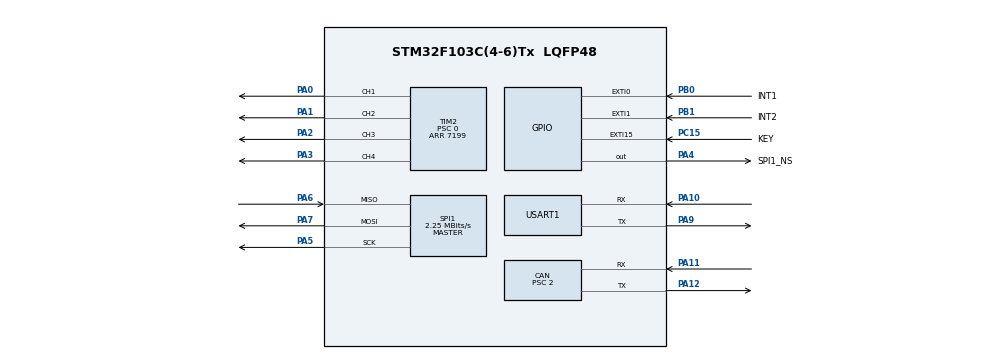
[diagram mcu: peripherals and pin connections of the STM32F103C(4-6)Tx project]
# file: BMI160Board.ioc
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CAN.BS1=CAN_BS1_9TQ
CAN.BS2=CAN_BS2_8TQ
CAN.CalculateBaudRate=1000000
CAN.CalculateTimeBit=1000
CAN.CalculateTimeQuantum=55.55555555555556
CAN.Prescaler=2
Mcu.Family=STM32F1
Mcu.Name=STM32F103C(4-6)Tx
Mcu.Package=LQFP48
NVIC.CAN1_RX1_IRQn=true\:0\:0\:false\:false\:true\:true\:true\:true
NVIC.EXTI0_IRQn=true\:1\:0\:true\:false\:true\:true\:true\:true
NVIC.EXTI15_10_IRQn=true\:0\:0\:false\:false\:true\:true\:true\:true
NVIC.EXTI1_IRQn=true\:1\:0\:true\:false\:true\:true\:true\:true
NVIC.PriorityGroup=NVIC_PRIORITYGROUP_4
NVIC.TIM1_UP_IRQn=true\:0\:0\:false\:false\:true\:true\:true\:true
NVIC.USB_HP_CAN1_TX_IRQn=true\:0\:0\:false\:false\:true\:true\:true\:true
NVIC.USB_LP_CAN1_RX0_IRQn=true\:0\:0\:false\:false\:true\:true\:true\:true
PA0-WKUP.Signal=S_TIM2_CH1_ETR
PA1.Signal=S_TIM2_CH2
PA10.Mode=Asynchronous
PA10.Signal=USART1_RX
PA11.Mode=CAN_Activate
PA11.Signal=CAN_RX
PA12.Mode=CAN_Activate
PA12.Signal=CAN_TX
PA13.Mode=Serial_Wire
PA13.Signal=SYS_JTMS-SWDIO
PA14.Mode=Serial_Wire
PA14.Signal=SYS_JTCK-SWCLK
PA2.Signal=S_TIM2_CH3
PA3.Signal=S_TIM2_CH4
PA4.GPIO_Label=SPI1_NS
PA4.GPIO_Speed=GPIO_SPEED_FREQ_HIGH
PA4.Signal=GPIO_Output
PA5.Mode=Full_Duplex_Master
PA5.Signal=SPI1_SCK
PA6.Mode=Full_Duplex_Master
PA6.Signal=SPI1_MISO
PA7.Mode=Full_Duplex_Master
PA7.Signal=SPI1_MOSI
PA9.Mode=Asynchronous
PA9.Signal=USART1_TX
PB0.GPIO_Label=INT1
PB0.GPIO_ModeDefaultEXTI=GPIO_MODE_IT_FALLING
PB0.GPIO_PuPd=GPIO_NOPULL
PB0.Signal=GPXTI0
PB1.GPIO_Label=INT2
PB1.GPIO_ModeDefaultEXTI=GPIO_MODE_IT_FALLING
PB1.GPIO_PuPd=GPIO_NOPULL
PB1.Signal=GPXTI1
PC15-OSC32_OUT.GPIO_Label=KEY
PC15-OSC32_OUT.GPIO_ModeDefaultEXTI=GPIO_MODE_IT_RISING_FALLING
PC15-OSC32_OUT.GPIO_PuPd=GPIO_PULLUP
PC15-OSC32_OUT.Signal=GPXTI15
PD0-OSC_IN.Mode=HSE-External-Oscillator
PD0-OSC_IN.Signal=RCC_OSC_IN
PD1-OSC_OUT.Mode=HSE-External-Oscillator
PD1-OSC_OUT.Signal=RCC_OSC_OUT
ProjectManager.HeapSize=0x200
ProjectManager.StackSize=0x400
ProjectManager.TargetToolchain=MDK-ARM V5.32
RCC.AHBFreq_Value=72000000
RCC.APB1CLKDivider=RCC_HCLK_DIV2
RCC.APB1Freq_Value=36000000
RCC.APB1TimFreq_Value=72000000
RCC.APB2Freq_Value=72000000
RCC.APB2TimFreq_Value=72000000
RCC.HCLKFreq_Value=72000000
RCC.PLLMUL=RCC_PLL_MUL9
RCC.PLLSourceVirtual=RCC_PLLSOURCE_HSE
RCC.SYSCLKFreq_VALUE=72000000
RCC.SYSCLKSource=RCC_SYSCLKSOURCE_PLLCLK
RCC.USBFreq_Value=72000000
SH.S_TIM2_CH1_ETR.0=TIM2_CH1,PWM Generation1 CH1
SH.S_TIM2_CH2.0=TIM2_CH2,PWM Generation2 CH2
SH.S_TIM2_CH3.0=TIM2_CH3,PWM Generation3 CH3
SH.S_TIM2_CH4.0=TIM2_CH4,PWM Generation4 CH4
SPI1.BaudRatePrescaler=SPI_BAUDRATEPRESCALER_32
SPI1.CalculateBaudRate=2.25 MBits/s
SPI1.Direction=SPI_DIRECTION_2LINES
SPI1.Mode=SPI_MODE_MASTER
SPI1.VirtualType=VM_MASTER
TIM1.Period=999
TIM1.Prescaler=71
TIM2.Channel-PWM\ Generation1\ CH1=TIM_CHANNEL_1
TIM2.Channel-PWM\ Generation2\ CH2=TIM_CHANNEL_2
TIM2.Channel-PWM\ Generation3\ CH3=TIM_CHANNEL_3
TIM2.Channel-PWM\ Generation4\ CH4=TIM_CHANNEL_4
TIM2.OCMode_PWM-PWM\ Generation1\ CH1=TIM_OCMODE_PWM1
TIM2.OCMode_PWM-PWM\ Generation2\ CH2=TIM_OCMODE_PWM1
TIM2.OCMode_PWM-PWM\ Generation3\ CH3=TIM_OCMODE_PWM1
TIM2.Period=7199
TIM2.Prescaler=0
USART1.VirtualMode=VM_ASYNC
VP_TIM1_VS_ClockSourceINT.Mode=Internal
VP_TIM2_VS_ClockSourceINT.Mode=Internal
board=custom

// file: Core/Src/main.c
/* USER CODE BEGIN Header */
/**
  ******************************************************************************
  * @file           : main.c
  * @brief          : Main program body
  ******************************************************************************
  * @attention
  *
  * Copyright (c) 2022 STMicroelectronics.
  * All rights reserved.
  *
  * This software is licensed under terms that can be found in the LICENSE file
  * in the root directory of this software component.
  * If no LICENSE file comes with this software, it is provided AS-IS.
  *
  ******************************************************************************
  */
/* USER CODE END Header */
#include "main.h"
#include "can.h"
#include "spi.h"
#include "tim.h"
#include "usart.h"
#include "gpio.h"

/* USER CODE BEGIN Includes */
#include "BMI160_LL.h"
#include "Control.h"
#include "QCS_Lite.h"
#include "Data_Exchange.h"
#include "Flash_M3_HAL.h"
#include "CA_Lite_M3.h"
#include "CAN_M3_HAL.h"
/* USER CODE END Includes */

void SystemClock_Config(void);

/* USER CODE BEGIN 0 */
//	uint16_t SixTemp1[1] = {1};
//	uint16_t SixTemp2[1] = {0};
//	uint8_t INIT=0;
//	float TT = 0;
//	uint8_t BB=0;
	float YAW=0;
	uint16_t CAN_TX_FPS=0;
	uint16_t CAN_TX_FPS_=0;
/* USER CODE END 0 */

int main(void)
{

  /* MCU Configuration--------------------------------------------------------*/

  /* Reset of all peripherals, Initializes the Flash interface and the Systick. */
  HAL_Init();

  /* Configure the system clock */
  SystemClock_Config();

  /* Initialize all configured peripherals */
  MX_GPIO_Init();
  MX_CAN_Init();
  MX_SPI1_Init();
  MX_USART1_UART_Init();
  MX_TIM2_Init();
  MX_TIM1_Init();
  /* USER CODE BEGIN 2 */

	LL_SPI_Enable(BMI160LL_SPI);

	BMI160_LL_init(&BMI160_Data);
	InitPID();
	LL_TIM_CC_EnableChannel(TIM2, LL_TIM_CHANNEL_CH1);
	LL_TIM_CC_EnableChannel(TIM2, LL_TIM_CHANNEL_CH2);
	LL_TIM_CC_EnableChannel(TIM2, LL_TIM_CHANNEL_CH3);
	LL_TIM_CC_EnableChannel(TIM2, LL_TIM_CHANNEL_CH4);
	QCS_init_data();
	CAN_filter_init();
	LL_TIM_EnableCounter(TIM2);
	LL_TIM_EnableAllOutputs(TIM2);

	LL_TIM_EnableIT_UPDATE(TIM1);
	LL_TIM_EnableCounter(TIM1);
//	HAL_Delay(1000);
//	uint16_t INIT =1;
  /* USER CODE END 2 */

  /* Infinite loop */
  while (1)
  {

    /* USER CODE BEGIN 3 */
//	  if(INIT)
//	  {
//		  BMI160_LL_calib_gyro_zero(&BMI160_Data);INIT = 0;
//	  }
////	   BMI160_LL_Read_GandA(&BMI160_Data);
	  //监测状态

	  static float Last_acc_;
	   if(Last_acc_ != BMI160_Data.bmi160_accel_calib[0]){
		  Last_acc_ = BMI160_Data.bmi160_accel_calib[0];
		  LL_mDelay(100);
	      LL_TIM_OC_SetCompareCH2(TIM2,CAN_TX_FPS/10);
	      LL_mDelay(100);
		  LL_TIM_OC_SetCompareCH2(TIM2,0);}
	   else
	   {
		  Last_acc_ = BMI160_Data.bmi160_accel_calib[0];
		  LL_TIM_OC_SetCompareCH2(TIM2,0);
		  LL_TIM_OC_SetCompareCH3(TIM2,0);
		  LL_mDelay(200);
		  LL_TIM_OC_SetCompareCH1(TIM2,1000);
		  LL_mDelay(200);
		  LL_TIM_OC_SetCompareCH1(TIM2,0);
	   }
	   float temp2;
	   QCS_GetYawAngel(QCS_AHRSq,&temp2);
//	   YAW = temp2 * 57.29577951f;

  }
  /* USER CODE END 3 */
}

void SystemClock_Config(void)
{
  LL_FLASH_SetLatency(LL_FLASH_LATENCY_2);
  while(LL_FLASH_GetLatency()!= LL_FLASH_LATENCY_2)
  {
  }
  LL_RCC_HSE_Enable();

   /* Wait till HSE is ready */
  while(LL_RCC_HSE_IsReady() != 1)
  {

  }
  LL_RCC_PLL_ConfigDomain_SYS(LL_RCC_PLLSOURCE_HSE_DIV_1, LL_RCC_PLL_MUL_9);
  LL_RCC_PLL_Enable();

   /* Wait till PLL is ready */
  while(LL_RCC_PLL_IsReady() != 1)
  {

  }
  LL_RCC_SetAHBPrescaler(LL_RCC_SYSCLK_DIV_1);
  LL_RCC_SetAPB1Prescaler(LL_RCC_APB1_DIV_2);
  LL_RCC_SetAPB2Prescaler(LL_RCC_APB2_DIV_1);
  LL_RCC_SetSysClkSource(LL_RCC_SYS_CLKSOURCE_PLL);

   /* Wait till System clock is ready */
  while(LL_RCC_GetSysClkSource() != LL_RCC_SYS_CLKSOURCE_STATUS_PLL)
  {

  }
  LL_SetSystemCoreClock(72000000);

   /* Update the time base */
  if (HAL_InitTick (TICK_INT_PRIORITY) != HAL_OK)
  {
    Error_Handler();
  }
}

void Error_Handler(void)
{
  __disable_irq();
  while (1)
  {
  }
}
